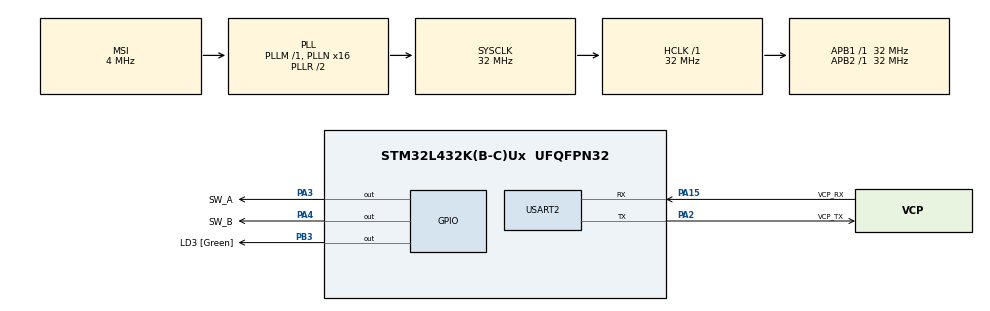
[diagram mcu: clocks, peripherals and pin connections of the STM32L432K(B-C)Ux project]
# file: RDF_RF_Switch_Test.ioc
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Mcu.Family=STM32L4
Mcu.Name=STM32L432K(B-C)Ux
Mcu.Package=UFQFPN32
NVIC.PriorityGroup=NVIC_PRIORITYGROUP_4
PA0.GPIO_Label=MCO [High speed clock in]
PA0.Mode=HSE-External-Clock-Source-for-LittleOrca
PA0.Signal=RCC_CK_IN
PA13\ (JTMS-SWDIO).GPIO_Label=SWDIO
PA13\ (JTMS-SWDIO).Mode=Serial_Wire
PA13\ (JTMS-SWDIO).Signal=SYS_JTMS-SWDIO
PA14\ (JTCK-SWCLK).GPIO_Label=SWCLK
PA14\ (JTCK-SWCLK).Mode=Serial_Wire
PA14\ (JTCK-SWCLK).Signal=SYS_JTCK-SWCLK
PA15\ (JTDI).GPIO_Label=VCP_RX
PA15\ (JTDI).Mode=Asynchronous
PA15\ (JTDI).Signal=USART2_RX
PA2.GPIO_Label=VCP_TX
PA2.GPIO_ModeDefaultPP=GPIO_MODE_AF_PP
PA2.Mode=Asynchronous
PA2.Signal=USART2_TX
PA3.GPIO_Label=SW_A
PA3.GPIO_PuPd=GPIO_NOPULL
PA3.PinState=GPIO_PIN_RESET
PA3.Signal=GPIO_Output
PA4.GPIO_Label=SW_B
PA4.Signal=GPIO_Output
PB3\ (JTDO-TRACESWO).GPIO_Label=LD3 [Green]
PB3\ (JTDO-TRACESWO).Signal=GPIO_Output
PC14-OSC32_IN\ (PC14).Mode=LSE-External-Oscillator
PC14-OSC32_IN\ (PC14).Signal=RCC_OSC32_IN
PC15-OSC32_OUT\ (PC15).Mode=LSE-External-Oscillator
PC15-OSC32_OUT\ (PC15).Signal=RCC_OSC32_OUT
ProjectManager.HeapSize=0x200
ProjectManager.StackSize=0x400
ProjectManager.TargetToolchain=STM32CubeIDE
RCC.AHBFreq_Value=32000000
RCC.APB1Freq_Value=32000000
RCC.APB1TimFreq_Value=32000000
RCC.APB2Freq_Value=32000000
RCC.APB2TimFreq_Value=32000000
RCC.CortexFreq_Value=32000000
RCC.HCLKFreq_Value=32000000
RCC.HSE_VALUE=8000000
RCC.HSI16_VALUE=16000000
RCC.HSI48_VALUE=48000000
RCC.HSI_VALUE=16000000
RCC.MSI_VALUE=4000000
RCC.PLLMUL=RCC_PLLMUL_4
RCC.PLLN=16
RCC.SYSCLKFreq_VALUE=32000000
RCC.SYSCLKSource=RCC_SYSCLKSOURCE_PLLCLK
RCC.VCOOutputFreq_Value=64000000
USART2.VirtualMode-Asynchronous=VM_ASYNC
board=NUCLEO-L432KC

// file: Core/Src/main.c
/* USER CODE BEGIN Header */
/**
  ******************************************************************************
  * @file           : main.c
  * @brief          : Main program body
  ******************************************************************************
  * @attention
  *
  * Copyright (c) 2026 STMicroelectronics.
  * All rights reserved.
  *
  * This software is licensed under terms that can be found in the LICENSE file
  * in the root directory of this software component.
  * If no LICENSE file comes with this software, it is provided AS-IS.
  *
  ******************************************************************************
  */
/* USER CODE END Header */
#include "main.h"

UART_HandleTypeDef huart2;

/* USER CODE BEGIN PV */

uint8_t command;

/* USER CODE END PV */

void SystemClock_Config(void);
static void MX_GPIO_Init(void);
static void MX_USART2_UART_Init(void);

int main(void)
{

  /* MCU Configuration--------------------------------------------------------*/

  /* Reset of all peripherals, Initializes the Flash interface and the Systick. */
  HAL_Init();

  /* Configure the system clock */
  SystemClock_Config();

  /* Initialize all configured peripherals */
  MX_GPIO_Init();
  MX_USART2_UART_Init();
  /* USER CODE BEGIN 2 */
  /* Default HMC7992 RF path: RFC -> RF1 (A = 0, B = 0). */
  HAL_GPIO_WritePin(SW_A_GPIO_Port, SW_A_Pin, GPIO_PIN_RESET);
  HAL_GPIO_WritePin(SW_B_GPIO_Port, SW_B_Pin, GPIO_PIN_RESET);
  /* USER CODE END 2 */

  /* Infinite loop */
  while (1)
  {

    /* USER CODE BEGIN 3 */
    /* Wait for one command byte from the PC. */
    HAL_UART_Receive(&huart2, &command, 1, HAL_MAX_DELAY);

    if (command == '1')
    {
      /* RF1: A = 0, B = 0. */
      HAL_GPIO_WritePin(SW_A_GPIO_Port, SW_A_Pin, GPIO_PIN_RESET);
      HAL_GPIO_WritePin(SW_B_GPIO_Port, SW_B_Pin, GPIO_PIN_RESET);

      uint8_t message[] = "READY 1\r\n";
      HAL_UART_Transmit(&huart2, message, sizeof(message) - 1, HAL_MAX_DELAY);
    }
    else if (command == '2')
    {
      /* RF2: A = 1, B = 0. */
      HAL_GPIO_WritePin(SW_A_GPIO_Port, SW_A_Pin, GPIO_PIN_SET);
      HAL_GPIO_WritePin(SW_B_GPIO_Port, SW_B_Pin, GPIO_PIN_RESET);

      uint8_t message[] = "READY 2\r\n";
      HAL_UART_Transmit(&huart2, message, sizeof(message) - 1, HAL_MAX_DELAY);
    }
    else if (command == '3')
    {
      /* RF3: A = 0, B = 1. */
      HAL_GPIO_WritePin(SW_A_GPIO_Port, SW_A_Pin, GPIO_PIN_RESET);
      HAL_GPIO_WritePin(SW_B_GPIO_Port, SW_B_Pin, GPIO_PIN_SET);

      uint8_t message[] = "READY 3\r\n";
      HAL_UART_Transmit(&huart2, message, sizeof(message) - 1, HAL_MAX_DELAY);
    }
    else if (command == '4')
    {
      /* RF4: A = 1, B = 1. */
      HAL_GPIO_WritePin(SW_A_GPIO_Port, SW_A_Pin, GPIO_PIN_SET);
      HAL_GPIO_WritePin(SW_B_GPIO_Port, SW_B_Pin, GPIO_PIN_SET);

      uint8_t message[] = "READY 4\r\n";
      HAL_UART_Transmit(&huart2, message, sizeof(message) - 1, HAL_MAX_DELAY);
    }
  }
  /* USER CODE END 3 */
}

void SystemClock_Config(void)
{
  RCC_OscInitTypeDef RCC_OscInitStruct = {0};
  RCC_ClkInitTypeDef RCC_ClkInitStruct = {0};

  /** Configure the main internal regulator output voltage
  */
  if (HAL_PWREx_ControlVoltageScaling(PWR_REGULATOR_VOLTAGE_SCALE1) != HAL_OK)
  {
    Error_Handler();
  }

  /** Configure LSE Drive Capability
  */
  HAL_PWR_EnableBkUpAccess();
  __HAL_RCC_LSEDRIVE_CONFIG(RCC_LSEDRIVE_LOW);

  /** Initializes the RCC Oscillators according to the specified parameters
  * in the RCC_OscInitTypeDef structure.
  */
  RCC_OscInitStruct.OscillatorType = RCC_OSCILLATORTYPE_LSE|RCC_OSCILLATORTYPE_MSI;
  RCC_OscInitStruct.LSEState = RCC_LSE_ON;
  RCC_OscInitStruct.MSIState = RCC_MSI_ON;
  RCC_OscInitStruct.MSICalibrationValue = 0;
  RCC_OscInitStruct.MSIClockRange = RCC_MSIRANGE_6;
  RCC_OscInitStruct.PLL.PLLState = RCC_PLL_ON;
  RCC_OscInitStruct.PLL.PLLSource = RCC_PLLSOURCE_MSI;
  RCC_OscInitStruct.PLL.PLLM = 1;
  RCC_OscInitStruct.PLL.PLLN = 16;
  RCC_OscInitStruct.PLL.PLLP = RCC_PLLP_DIV7;
  RCC_OscInitStruct.PLL.PLLQ = RCC_PLLQ_DIV2;
  RCC_OscInitStruct.PLL.PLLR = RCC_PLLR_DIV2;
  if (HAL_RCC_OscConfig(&RCC_OscInitStruct) != HAL_OK)
  {
    Error_Handler();
  }

  /** Initializes the CPU, AHB and APB buses clocks
  */
  RCC_ClkInitStruct.ClockType = RCC_CLOCKTYPE_HCLK|RCC_CLOCKTYPE_SYSCLK
                              |RCC_CLOCKTYPE_PCLK1|RCC_CLOCKTYPE_PCLK2;
  RCC_ClkInitStruct.SYSCLKSource = RCC_SYSCLKSOURCE_PLLCLK;
  RCC_ClkInitStruct.AHBCLKDivider = RCC_SYSCLK_DIV1;
  RCC_ClkInitStruct.APB1CLKDivider = RCC_HCLK_DIV1;
  RCC_ClkInitStruct.APB2CLKDivider = RCC_HCLK_DIV1;

  if (HAL_RCC_ClockConfig(&RCC_ClkInitStruct, FLASH_LATENCY_1) != HAL_OK)
  {
    Error_Handler();
  }

  /** Enable MSI Auto calibration
  */
  HAL_RCCEx_EnableMSIPLLMode();
}

static void MX_USART2_UART_Init(void)
{

  huart2.Instance = USART2;
  huart2.Init.BaudRate = 115200;
  huart2.Init.WordLength = UART_WORDLENGTH_8B;
  huart2.Init.StopBits = UART_STOPBITS_1;
  huart2.Init.Parity = UART_PARITY_NONE;
  huart2.Init.Mode = UART_MODE_TX_RX;
  huart2.Init.HwFlowCtl = UART_HWCONTROL_NONE;
  huart2.Init.OverSampling = UART_OVERSAMPLING_16;
  huart2.Init.OneBitSampling = UART_ONE_BIT_SAMPLE_DISABLE;
  huart2.AdvancedInit.AdvFeatureInit = UART_ADVFEATURE_NO_INIT;
  if (HAL_UART_Init(&huart2) != HAL_OK)
  {
    Error_Handler();
  }

}

static void MX_GPIO_Init(void)
{
  GPIO_InitTypeDef GPIO_InitStruct = {0};

  /* GPIO Ports Clock Enable */
  __HAL_RCC_GPIOC_CLK_ENABLE();
  __HAL_RCC_GPIOA_CLK_ENABLE();
  __HAL_RCC_GPIOB_CLK_ENABLE();

  /*Configure GPIO pin Output Level */
  HAL_GPIO_WritePin(SW_A_GPIO_Port, SW_A_Pin, GPIO_PIN_RESET);

  /*Configure GPIO pin Output Level */
  HAL_GPIO_WritePin(SW_B_GPIO_Port, SW_B_Pin, GPIO_PIN_RESET);

  /*Configure GPIO pin Output Level */
  HAL_GPIO_WritePin(LD3_GPIO_Port, LD3_Pin, GPIO_PIN_RESET);

  /*Configure GPIO pins : SW_A_Pin SW_B_Pin */
  GPIO_InitStruct.Pin = SW_A_Pin|SW_B_Pin;
  GPIO_InitStruct.Mode = GPIO_MODE_OUTPUT_PP;
  GPIO_InitStruct.Pull = GPIO_NOPULL;
  GPIO_InitStruct.Speed = GPIO_SPEED_FREQ_LOW;
  HAL_GPIO_Init(GPIOA, &GPIO_InitStruct);

  /*Configure GPIO pin : LD3_Pin */
  GPIO_InitStruct.Pin = LD3_Pin;
  GPIO_InitStruct.Mode = GPIO_MODE_OUTPUT_PP;
  GPIO_InitStruct.Pull = GPIO_NOPULL;
  GPIO_InitStruct.Speed = GPIO_SPEED_FREQ_LOW;
  HAL_GPIO_Init(LD3_GPIO_Port, &GPIO_InitStruct);

}

void Error_Handler(void)
{
  __disable_irq();
  while (1)
  {
  }
}
